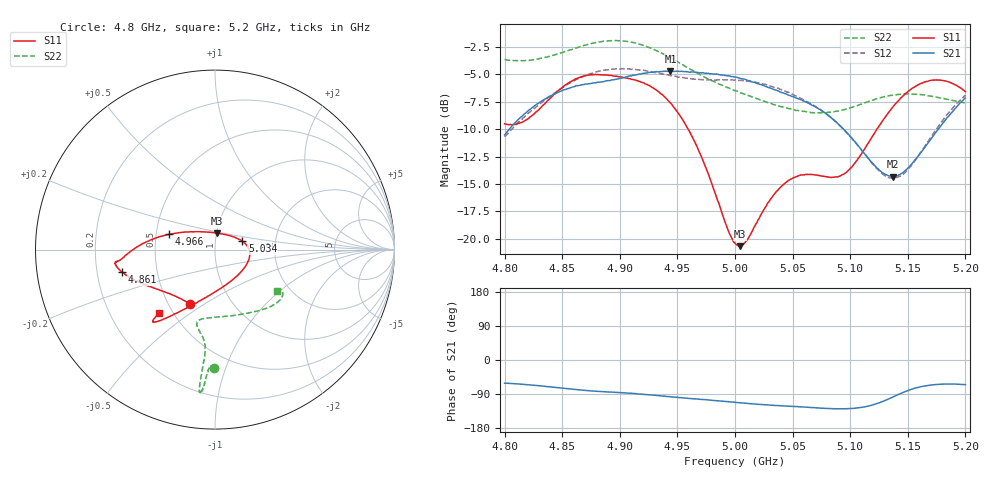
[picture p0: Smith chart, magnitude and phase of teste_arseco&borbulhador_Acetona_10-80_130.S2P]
! Network Analyzer HP8722D
! Hewlett-Packard
! Data name: Linha & Wilkinson
! Saver's name: Rodrigo Anjos
! Comments: Teste da utilização de aquisição
! continua pelo VNA HP8722D
! Time and date: 17/4/2025 15:26
!  Frequency  S11  S21  S12  S22
# HZ  S  MA R 50
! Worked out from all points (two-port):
!   401 points, 4.8 GHz to 5.2 GHz, reference 50 ohm
!   highest |S21| = -4.69 dB at 4.944 GHz (marker M1); lowest = -14.3 dB at 5.137 GHz (marker M2)
!   |S21| within 3 dB of the highest: 4.828 GHz to 5.065 GHz (236.2 MHz wide, 4.78 % of centre); 5.194637 GHz to end of sweep
!   lowest |S11| = -20.7 dB at 5.004 GHz (marker M3), VSWR 1.20, Z = 50.5 + j9.32 ohm
!   |S11| at or under -10 dB: 4.959 GHz to 5.123 GHz (163.8 MHz wide, 3.25 % of centre)
!   |S22| runs from -8.5 to -1.9 dB; largest |S21 - S12| = 0.87
!   S11 on the Smith chart (normalised r, x): 4.8 GHz: 0.64, -0.44; 4.861 GHz: 0.31, -0.11; 4.966 GHz: 0.58, +0.11; 5.034 GHz: 1.35, +0.13; 5.2 GHz: 0.42, -0.38
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4.8e9  0.3349 -114.6  0.2976 -61.3  0.2918 -175.5  0.6575 -90.5
4.819e9  0.3494 -134.5  0.3776 -64.8  0.3664 -174.4  0.6518 -92.1
4.861e9  0.5343 -166.5  0.4951 -77.8  0.5284 -177.7  0.7384 -94.5
4.867e9  0.5493 -168.9  0.5041 -79.4  0.545 -178.7  0.7572 -94.6
4.899e9  0.5484 -173.2  0.5373 -85.9  0.5957 174.7  0.8002 -95.9
4.934e9  0.4674 -179.1  0.5775 -94.4  0.5701 171.3  0.7118 -96.3
4.944e9  0.416 176.3  0.5828 -96.9  0.5544 171.3  0.6695 -96.0
4.966e9  0.2704 161.7  0.5745 -102.6  0.5345 173.2  0.5738 -95.5
4.993e9  0.1134 119.7  0.5542 -109.6  0.531 175.4  0.4909 -98.2
5e9  0.0956 96.5  0.5457 -111.8  0.5305 175.6  0.4739 -99.6
5.004e9  0.09253 81.9  0.5406 -112.8  0.5281 175.5  0.4657 -100.4
5.011e9  0.09952 58.0  0.5275 -114.7  0.5227 175.4  0.4514 -102.0
5.034e9  0.1594 16.9  0.479 -119.9  0.4913 174.2  0.409 -103.5
5.049e9  0.1875 2.0  0.4466 -122.2  0.4593 173.7  0.3911 -99.7
5.067e9  0.1965 -17.2  0.4063 -125.5  0.4106 173.2  0.3767 -89.9
5.096e9  0.2001 -67.7  0.3087 -128.6  0.309 174.4  0.3903 -67.3
5.123e9  0.3153 -109.3  0.2107 -115.2  0.2095 -169.8  0.4353 -48.5
5.134e9  0.3808 -118.1  0.1933 -101.9  0.1899 -154.8  0.4496 -43.0
5.137e9  0.3987 -119.8  0.1922 -97.8  0.1893 -150.0  0.4528 -41.8
5.15e9  0.4688 -125.5  0.2099 -80.9  0.2066 -130.5  0.4578 -37.0
5.17e9  0.5277 -130.0  0.2846 -66.1  0.2902 -112.3  0.4476 -32.4
5.2e9  0.4684 -131.5  0.4393 -65.2  0.4516 -107.2  0.416 -33.9
